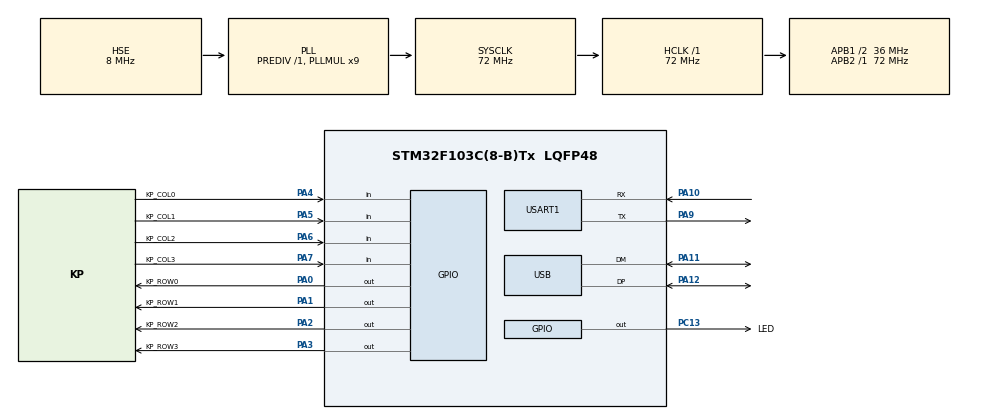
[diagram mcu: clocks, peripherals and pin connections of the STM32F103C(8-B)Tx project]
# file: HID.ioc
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Mcu.Family=STM32F1
Mcu.Name=STM32F103C(8-B)Tx
Mcu.Package=LQFP48
NVIC.PriorityGroup=NVIC_PRIORITYGROUP_4
NVIC.TIM2_IRQn=true\:0\:0\:false\:false\:true\:true
NVIC.USB_LP_CAN1_RX0_IRQn=true\:0\:0\:false\:false\:true\:false
PA0-WKUP.GPIO_Label=KP_ROW0
PA0-WKUP.GPIO_ModeDefaultOutputPP=GPIO_MODE_OUTPUT_OD
PA0-WKUP.GPIO_PuPd=GPIO_PULLUP
PA0-WKUP.Signal=GPIO_Output
PA1.GPIO_Label=KP_ROW1
PA1.GPIO_ModeDefaultOutputPP=GPIO_MODE_OUTPUT_OD
PA1.GPIO_PuPd=GPIO_PULLUP
PA1.Signal=GPIO_Output
PA10.GPIO_PuPd=GPIO_NOPULL
PA10.Mode=Asynchronous
PA10.Signal=USART1_RX
PA11.Mode=Device
PA11.Signal=USB_DM
PA12.Mode=Device
PA12.Signal=USB_DP
PA13.Mode=Serial_Wire
PA13.Signal=SYS_JTMS-SWDIO
PA14.Mode=Serial_Wire
PA14.Signal=SYS_JTCK-SWCLK
PA2.GPIO_Label=KP_ROW2
PA2.GPIO_ModeDefaultOutputPP=GPIO_MODE_OUTPUT_OD
PA2.GPIO_PuPd=GPIO_PULLUP
PA2.Signal=GPIO_Output
PA3.GPIO_Label=KP_ROW3
PA3.GPIO_ModeDefaultOutputPP=GPIO_MODE_OUTPUT_OD
PA3.GPIO_PuPd=GPIO_PULLUP
PA3.Signal=GPIO_Output
PA4.GPIO_Label=KP_COL0
PA4.GPIO_PuPd=GPIO_PULLUP
PA4.Signal=GPIO_Input
PA5.GPIO_Label=KP_COL1
PA5.GPIO_PuPd=GPIO_PULLUP
PA5.Signal=GPIO_Input
PA6.GPIO_Label=KP_COL2
PA6.GPIO_PuPd=GPIO_PULLUP
PA6.Signal=GPIO_Input
PA7.GPIO_Label=KP_COL3
PA7.GPIO_PuPd=GPIO_PULLUP
PA7.Signal=GPIO_Input
PA9.Mode=Asynchronous
PA9.Signal=USART1_TX
PC13-TAMPER-RTC.GPIO_Label=LED
PC13-TAMPER-RTC.Signal=GPIO_Output
PC14-OSC32_IN.Mode=LSE-External-Oscillator
PC14-OSC32_IN.Signal=RCC_OSC32_IN
PC15-OSC32_OUT.Mode=LSE-External-Oscillator
PC15-OSC32_OUT.Signal=RCC_OSC32_OUT
PD0-OSC_IN.Mode=HSE-External-Oscillator
PD0-OSC_IN.Signal=RCC_OSC_IN
PD1-OSC_OUT.Mode=HSE-External-Oscillator
PD1-OSC_OUT.Signal=RCC_OSC_OUT
ProjectManager.HeapSize=0x200
ProjectManager.StackSize=0x400
ProjectManager.TargetToolchain=TrueSTUDIO
RCC.AHBFreq_Value=72000000
RCC.APB1CLKDivider=RCC_HCLK_DIV2
RCC.APB1Freq_Value=36000000
RCC.APB1TimFreq_Value=72000000
RCC.APB2Freq_Value=72000000
RCC.APB2TimFreq_Value=72000000
RCC.HCLKFreq_Value=72000000
RCC.PLLMUL=RCC_PLL_MUL9
RCC.SYSCLKFreq_VALUE=72000000
RCC.SYSCLKSource=RCC_SYSCLKSOURCE_PLLCLK
RCC.USBFreq_Value=48000000
RCC.USBPrescaler=RCC_USBCLKSOURCE_PLL_DIV1_5
TIM2.AutoReloadPreload=TIM_AUTORELOAD_PRELOAD_ENABLE
TIM2.Period=3600
TIM2.Prescaler=999
USART1.VirtualMode=VM_ASYNC
USB_DEVICE.CLASS_NAME_FS=HID
USB_DEVICE.VirtualMode=Hid
USB_DEVICE.VirtualModeFS=Hid_FS
VP_TIM2_VS_ClockSourceINT.Mode=Internal
VP_USB_DEVICE_VS_USB_DEVICE_HID_FS.Mode=HID_FS
board=custom

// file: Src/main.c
/**
  ******************************************************************************
  * @file           : main.c
  * @brief          : Main program body
  ******************************************************************************
  * This notice applies to any and all portions of this file
  * that are not between comment pairs USER CODE BEGIN and
  * USER CODE END. Other portions of this file, whether
  * inserted by the user or by software development tools
  * are owned by their respective copyright owners.
  *
  * Copyright (c) 2018 STMicroelectronics International N.V.
  * All rights reserved.
  *
  * Redistribution and use in source and binary forms, with or without
  * modification, are permitted, provided that the following conditions are met:
  *
  * 1. Redistribution of source code must retain the above copyright notice,
  *    this list of conditions and the following disclaimer.
  * 2. Redistributions in binary form must reproduce the above copyright notice,
  *    this list of conditions and the following disclaimer in the documentation
  *    and/or other materials provided with the distribution.
  * 3. Neither the name of STMicroelectronics nor the names of other
  *    contributors to this software may be used to endorse or promote products
  *    derived from this software without specific written permission.
  * 4. This software, including modifications and/or derivative works of this
  *    software, must execute solely and exclusively on microcontroller or
  *    microprocessor devices manufactured by or for STMicroelectronics.
  * 5. Redistribution and use of this software other than as permitted under
  *    this license is void and will automatically terminate your rights under
  *    this license.
  *
  * THIS SOFTWARE IS PROVIDED BY STMICROELECTRONICS AND CONTRIBUTORS "AS IS"
  * AND ANY EXPRESS, IMPLIED OR STATUTORY WARRANTIES, INCLUDING, BUT NOT
  * LIMITED TO, THE IMPLIED WARRANTIES OF MERCHANTABILITY, FITNESS FOR A
  * PARTICULAR PURPOSE AND NON-INFRINGEMENT OF THIRD PARTY INTELLECTUAL PROPERTY
  * RIGHTS ARE DISCLAIMED TO THE FULLEST EXTENT PERMITTED BY LAW. IN NO EVENT
  * SHALL STMICROELECTRONICS OR CONTRIBUTORS BE LIABLE FOR ANY DIRECT, INDIRECT,
  * INCIDENTAL, SPECIAL, EXEMPLARY, OR CONSEQUENTIAL DAMAGES (INCLUDING, BUT NOT
  * LIMITED TO, PROCUREMENT OF SUBSTITUTE GOODS OR SERVICES; LOSS OF USE, DATA,
  * OR PROFITS; OR BUSINESS INTERRUPTION) HOWEVER CAUSED AND ON ANY THEORY OF
  * LIABILITY, WHETHER IN CONTRACT, STRICT LIABILITY, OR TORT (INCLUDING
  * NEGLIGENCE OR OTHERWISE) ARISING IN ANY WAY OUT OF THE USE OF THIS SOFTWARE,
  * EVEN IF ADVISED OF THE POSSIBILITY OF SUCH DAMAGE.
  *
  ******************************************************************************
  */
#include "main.h"
#include "stm32f1xx_hal.h"
#include "usb_device.h"

/* USER CODE BEGIN Includes */
#include <stdbool.h>
#include "xprintf.h"
#include "keyinput.h"
/* USER CODE END Includes */

TIM_HandleTypeDef htim2;

UART_HandleTypeDef huart1;

/* USER CODE BEGIN PV */
/* Private variables ---------------------------------------------------------*/

//https://github.com/Oliv4945/STM32L052_Breadboard/commit/fc3e6c0f586749aad904f5ef558a8c3e6ce585d8

/* USER CODE END PV */

void SystemClock_Config(void);
static void MX_GPIO_Init(void);
static void MX_USART1_UART_Init(void);
static void MX_TIM2_Init(void);

/* USER CODE BEGIN PFP */
/* Private function prototypes -----------------------------------------------*/
void KeyInput(uint8_t Modifier, uint8_t KeyData, uint8_t Delay);
void msgtx_putc(uint8_t c);
/* USER CODE END PFP */

/* USER CODE BEGIN 0 */
void HAL_TIM_PeriodElapsedCallback(TIM_HandleTypeDef *htim)
{
  if(htim->Instance == TIM2)    // 36M / 999(1000) / 3600 = 100mSec
  {
    HAL_GPIO_TogglePin(LED_GPIO_Port, LED_Pin);
  }
}
/* USER CODE END 0 */

int main(void)
{

  /* MCU Configuration----------------------------------------------------------*/

  /* Reset of all peripherals, Initializes the Flash interface and the Systick. */
  HAL_Init();

  /* USER CODE BEGIN Init */
  //xfunc_in = UART_1_GetChar;		/* xgets?�ｿｽ�ｿｽ?�ｿｽ�ｿｽ?�ｿｽ�ｿｽﾍデ?�ｿｽ�ｿｽo?�ｿｽ�ｿｽC?�ｿｽ�ｿｽX?�ｿｽ�ｿｽw?�ｿｽ�ｿｽ?�ｿｽ�ｿｽ */
  xfunc_out = msgtx_putc;		/* xprintf?�ｿｽ�ｿｽo?�ｿｽ�ｿｽﾍデ?�ｿｽ�ｿｽo?�ｿｽ�ｿｽC?�ｿｽ�ｿｽX?�ｿｽ�ｿｽw?�ｿｽ�ｿｽ?�ｿｽ�ｿｽ(UART?�ｿｽ�ｿｽg?�ｿｽ�ｿｽp?�ｿｽ�ｿｽ?�ｿｽ�ｿｽ) */
  /* USER CODE END Init */

  /* Configure the system clock */
  SystemClock_Config();

  /* Initialize all configured peripherals */
  MX_GPIO_Init();
  MX_USB_DEVICE_Init();
  MX_USART1_UART_Init();
  MX_TIM2_Init();
  HAL_TIM_Base_Start_IT(&htim2);

  /* USER CODE BEGIN 2 */

  /* Enable the UART Parity Error Interrupt */
  //__HAL_UART_DISABLE_IT(&huart1, UART_IT_PE);

  /* Enable the UART Error Interrupt: (Frame error, noise error, overrun error) */
  //__HAL_UART_DISABLE_IT(&huart1, UART_IT_ERR);

uint8_t DetectKey = 0xFF;
static uint8_t DetectKey_old = 0xFF;

  /* USER CODE END 2 */

  /* Infinite loop */
  /* USER CODE BEGIN WHILE */
   while (1)
   {
//	  HAL_Delay(1000);
//	  HAL_GPIO_WritePin(LED_GPIO_Port, LED_Pin, GPIO_PIN_RESET);
//	  HAL_Delay(1000);
//	  HAL_GPIO_WritePin(LED_GPIO_Port, LED_Pin, GPIO_PIN_SET);
//	  xputs("test\n");

	HAL_Delay(10);
	DetectKey = KeyMatrix_Scan();

	if(DetectKey_old != DetectKey && DetectKey != 0xFF)  // 繧ｨ�ｿｽ?繧ｸ讀懶ｿｽ?�ｿｽ縺励※謚ｼ荳区､懶ｿｽ?�ｿｽ
	{
		DetectKey_old = DetectKey;
		xprintf("Push Key %d\n",DetectKey);
	}
	DetectKey_old = DetectKey;

//	  KeyInput(USB_HID_MODIFIER_LEFT_SHIFT, 0x0B, 0);
//	  KeyInput(0, 0x12, 10);
//	  KeyInput(0, 0x0A, 10);
//	  KeyInput(0, 0x08, 10);
  /* USER CODE END WHILE */

  }

}

void SystemClock_Config(void)
{

  RCC_OscInitTypeDef RCC_OscInitStruct;
  RCC_ClkInitTypeDef RCC_ClkInitStruct;
  RCC_PeriphCLKInitTypeDef PeriphClkInit;

    /**Initializes the CPU, AHB and APB busses clocks
    */
  RCC_OscInitStruct.OscillatorType = RCC_OSCILLATORTYPE_HSE;
  RCC_OscInitStruct.HSEState = RCC_HSE_ON;
  RCC_OscInitStruct.HSEPredivValue = RCC_HSE_PREDIV_DIV1;
  RCC_OscInitStruct.HSIState = RCC_HSI_ON;
  RCC_OscInitStruct.PLL.PLLState = RCC_PLL_ON;
  RCC_OscInitStruct.PLL.PLLSource = RCC_PLLSOURCE_HSE;
  RCC_OscInitStruct.PLL.PLLMUL = RCC_PLL_MUL9;
  if (HAL_RCC_OscConfig(&RCC_OscInitStruct) != HAL_OK)
  {
    _Error_Handler(__FILE__, __LINE__);
  }

    /**Initializes the CPU, AHB and APB busses clocks
    */
  RCC_ClkInitStruct.ClockType = RCC_CLOCKTYPE_HCLK|RCC_CLOCKTYPE_SYSCLK
                              |RCC_CLOCKTYPE_PCLK1|RCC_CLOCKTYPE_PCLK2;
  RCC_ClkInitStruct.SYSCLKSource = RCC_SYSCLKSOURCE_PLLCLK;
  RCC_ClkInitStruct.AHBCLKDivider = RCC_SYSCLK_DIV1;
  RCC_ClkInitStruct.APB1CLKDivider = RCC_HCLK_DIV2;
  RCC_ClkInitStruct.APB2CLKDivider = RCC_HCLK_DIV1;

  if (HAL_RCC_ClockConfig(&RCC_ClkInitStruct, FLASH_LATENCY_2) != HAL_OK)
  {
    _Error_Handler(__FILE__, __LINE__);
  }

  PeriphClkInit.PeriphClockSelection = RCC_PERIPHCLK_USB;
  PeriphClkInit.UsbClockSelection = RCC_USBCLKSOURCE_PLL_DIV1_5;
  if (HAL_RCCEx_PeriphCLKConfig(&PeriphClkInit) != HAL_OK)
  {
    _Error_Handler(__FILE__, __LINE__);
  }

    /**Configure the Systick interrupt time
    */
  HAL_SYSTICK_Config(HAL_RCC_GetHCLKFreq()/1000);

    /**Configure the Systick
    */
  HAL_SYSTICK_CLKSourceConfig(SYSTICK_CLKSOURCE_HCLK);

  /* SysTick_IRQn interrupt configuration */
  HAL_NVIC_SetPriority(SysTick_IRQn, 0, 0);
}

/* TIM2 init function */
static void MX_TIM2_Init(void)
{

  TIM_ClockConfigTypeDef sClockSourceConfig;
  TIM_MasterConfigTypeDef sMasterConfig;

  htim2.Instance = TIM2;
  htim2.Init.Prescaler = 999;
  htim2.Init.CounterMode = TIM_COUNTERMODE_UP;
  htim2.Init.Period = 3600;
  htim2.Init.ClockDivision = TIM_CLOCKDIVISION_DIV1;
  htim2.Init.AutoReloadPreload = TIM_AUTORELOAD_PRELOAD_ENABLE;
  if (HAL_TIM_Base_Init(&htim2) != HAL_OK)
  {
    _Error_Handler(__FILE__, __LINE__);
  }

  sClockSourceConfig.ClockSource = TIM_CLOCKSOURCE_INTERNAL;
  if (HAL_TIM_ConfigClockSource(&htim2, &sClockSourceConfig) != HAL_OK)
  {
    _Error_Handler(__FILE__, __LINE__);
  }

  sMasterConfig.MasterOutputTrigger = TIM_TRGO_RESET;
  sMasterConfig.MasterSlaveMode = TIM_MASTERSLAVEMODE_DISABLE;
  if (HAL_TIMEx_MasterConfigSynchronization(&htim2, &sMasterConfig) != HAL_OK)
  {
    _Error_Handler(__FILE__, __LINE__);
  }

}

/* USART1 init function */
static void MX_USART1_UART_Init(void)
{

  huart1.Instance = USART1;
  huart1.Init.BaudRate = 115200;
  huart1.Init.WordLength = UART_WORDLENGTH_8B;
  huart1.Init.StopBits = UART_STOPBITS_1;
  huart1.Init.Parity = UART_PARITY_NONE;
  huart1.Init.Mode = UART_MODE_TX_RX;
  huart1.Init.HwFlowCtl = UART_HWCONTROL_NONE;
  huart1.Init.OverSampling = UART_OVERSAMPLING_16;
  if (HAL_UART_Init(&huart1) != HAL_OK)
  {
    _Error_Handler(__FILE__, __LINE__);
  }

}

/** Configure pins as
        * Analog
        * Input
        * Output
        * EVENT_OUT
        * EXTI
*/
static void MX_GPIO_Init(void)
{

  GPIO_InitTypeDef GPIO_InitStruct;

  /* GPIO Ports Clock Enable */
  __HAL_RCC_GPIOC_CLK_ENABLE();
  __HAL_RCC_GPIOD_CLK_ENABLE();
  __HAL_RCC_GPIOA_CLK_ENABLE();

  /*Configure GPIO pin Output Level */
  HAL_GPIO_WritePin(LED_GPIO_Port, LED_Pin, GPIO_PIN_RESET);

  /*Configure GPIO pin Output Level */
  HAL_GPIO_WritePin(GPIOA, KP_ROW0_Pin|KP_ROW1_Pin|KP_ROW2_Pin|KP_ROW3_Pin, GPIO_PIN_RESET);

  /*Configure GPIO pin : LED_Pin */
  GPIO_InitStruct.Pin = LED_Pin;
  GPIO_InitStruct.Mode = GPIO_MODE_OUTPUT_PP;
  GPIO_InitStruct.Pull = GPIO_NOPULL;
  GPIO_InitStruct.Speed = GPIO_SPEED_FREQ_LOW;
  HAL_GPIO_Init(LED_GPIO_Port, &GPIO_InitStruct);

  /*Configure GPIO pins : KP_ROW0_Pin KP_ROW1_Pin KP_ROW2_Pin KP_ROW3_Pin */
  GPIO_InitStruct.Pin = KP_ROW0_Pin|KP_ROW1_Pin|KP_ROW2_Pin|KP_ROW3_Pin;
  GPIO_InitStruct.Mode = GPIO_MODE_OUTPUT_OD;
  GPIO_InitStruct.Pull = GPIO_PULLUP;
  GPIO_InitStruct.Speed = GPIO_SPEED_FREQ_LOW;
  HAL_GPIO_Init(GPIOA, &GPIO_InitStruct);

  /*Configure GPIO pins : KP_COL0_Pin KP_COL1_Pin KP_COL2_Pin KP_COL3_Pin */
  GPIO_InitStruct.Pin = KP_COL0_Pin|KP_COL1_Pin|KP_COL2_Pin|KP_COL3_Pin;
  GPIO_InitStruct.Mode = GPIO_MODE_INPUT;
  GPIO_InitStruct.Pull = GPIO_PULLUP;
  HAL_GPIO_Init(GPIOA, &GPIO_InitStruct);

}

/* USER CODE BEGIN 4 */

void KeyInput(uint8_t Modifier, uint8_t KeyData, uint8_t Delay)
{
	// HID Keyboard
	struct keyboardHID_t {
		uint8_t	id;
		uint8_t modifiers;
		uint8_t	key1;
		uint8_t key2;
		uint8_t key3;
	};

	struct keyboardHID_t keyboardHID;

	keyboardHID.id = 1;
	keyboardHID.modifiers = 0;
	keyboardHID.key1 = 0;
	keyboardHID.key2 = 0;
	keyboardHID.key3 = 0;

	HAL_Delay(Delay);
	keyboardHID.modifiers = Modifier;	// ?�ｿｽ�ｿｽL?�ｿｽ�ｿｽ[?�ｿｽ�ｿｽ?�ｿｽ�ｿｽ?�ｿｽ�ｿｽ?�ｿｽ�ｿｽ
	keyboardHID.key1 = KeyData;
	USBD_HID_SendReport(&hUsbDeviceFS, &keyboardHID, sizeof(struct keyboardHID_t));

	HAL_Delay(30);
	keyboardHID.modifiers = 0;	// ?�ｿｽ�ｿｽ?�ｿｽ�ｿｽ?�ｿｽ�ｿｽ?�ｿｽ�ｿｽ
	keyboardHID.key1 = 0;
	USBD_HID_SendReport(&hUsbDeviceFS, &keyboardHID, sizeof(struct keyboardHID_t));

	return;
}

void msgtx_putc(uint8_t c)
{
//	HAL_UART_Transmit_IT(huart_cobs,&c,1);
	char buf[1];
	buf[0] = c;
	HAL_UART_Transmit(&huart1, (uint8_t *)buf, sizeof(buf), 0xFFFF);

}

/* USER CODE END 4 */

void _Error_Handler(char *file, int line)
{
  while(1)
  {
  }
}

/************************ (C) COPYRIGHT STMicroelectronics *****END OF FILE****/
